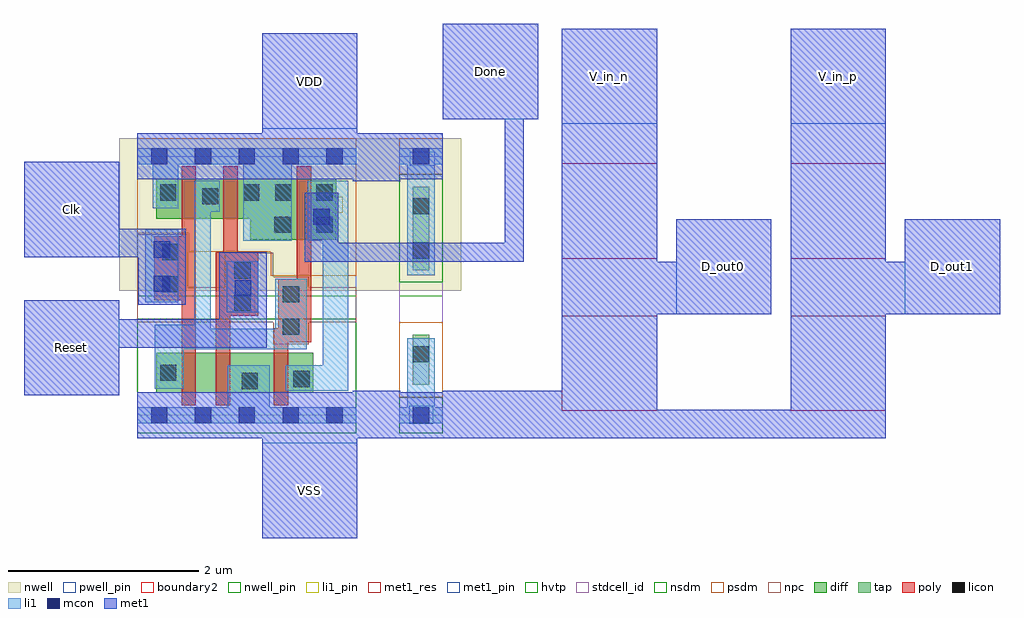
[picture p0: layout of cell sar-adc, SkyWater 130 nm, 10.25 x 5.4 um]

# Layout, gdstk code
import gdstk
lib = gdstk.Library(unit=1e-6, precision=1e-09)
def R(c, l, rs):  # rectangles x0, y0, x1, y1
    for r in rs: c.add(gdstk.rectangle(r[:2], r[2:], *l))
def A(c, l, x, y, w, h, nx, ny, dx, dy):  # array of equal rectangles
    R(c, l, [(x+i*dx, y+j*dy, x+i*dx+w, y+j*dy+h) for i in range(nx) for j in range(ny)])
def P(c, l, *ps):  # polygons
    for p in ps: c.add(gdstk.Polygon(p, *l))
nwell_pin = (64, 16)
nwell = (64, 20)
diff = (65, 20)
tap = (65, 44)
poly = (66, 20)
licon = (66, 44)
li1_pin = (67, 16)
li1 = (67, 20)
mcon = (67, 44)
met1_res = (68, 13)
met1_pin = (68, 16)
met1 = (68, 20)
hvtp = (78, 44)
stdcell_id = (81, 4)
nsdm = (93, 44)
psdm = (94, 20)
npc = (95, 20)
pwell_pin = (122, 16)
boundary2 = (236, 0)

sky130_fd_sc_hd__and2_0 = lib.new_cell('sky130_fd_sc_hd__and2_0')
R(sky130_fd_sc_hd__and2_0, nwell_pin, [(0.145,2.635,0.315,2.805)])
R(sky130_fd_sc_hd__and2_0, nwell, [(-0.19,1.305,2.49,2.91)])
R(sky130_fd_sc_hd__and2_0, diff, [(0.2,0.235,1.85,0.655)])
P(sky130_fd_sc_hd__and2_0, diff, [(2.09,2.485),(0.2,2.485),(0.2,2.065),(1.185,2.065),(1.185,1.845),(2.09,1.845)])
P(sky130_fd_sc_hd__and2_0, poly, [(0.615,2.615),(0.465,2.615),(0.465,1.88),(0.18,1.88),(0.18,1.21),(0.465,1.21),(0.465,0.105),(0.615,0.105)],
  [(1.27,1.71),(1.055,1.71),(1.055,2.615),(0.905,2.615),(0.905,1.71),(0.825,1.71),(0.825,0.105),(0.975,0.105),(0.975,1.045),(1.27,1.045)],
  [(1.825,2.615),(1.675,2.615),(1.675,1.435),(1.48,1.435),(1.48,0.915),(1.435,0.915),(1.435,0.105),(1.585,0.105),(1.585,0.765),(1.825,0.765)])
R(sky130_fd_sc_hd__and2_0, licon, [(1.095,0.275,1.265,0.445), (1.64,0.295,1.81,0.465), (0.24,0.36,0.41,0.53), (1.53,0.845,1.7,1.015), (1.02,1.095,1.19,1.265), (1.53,1.185,1.7,1.355), (0.26,1.29,0.43,1.46), (1.02,1.435,1.19,1.605), (0.26,1.63,0.43,1.8), (1.44,1.915,1.61,2.085), (1.88,1.915,2.05,2.085), (0.68,2.215,0.85,2.385), (0.24,2.255,0.41,2.425), (1.11,2.255,1.28,2.425), (1.45,2.255,1.62,2.425), (1.88,2.255,2.05,2.425)])
R(sky130_fd_sc_hd__and2_0, li1_pin, [(1.065,1.105,1.235,1.275), (1.065,1.445,1.235,1.615), (0.145,1.785,0.315,1.955), (1.985,2.125,2.155,2.295)])
R(sky130_fd_sc_hd__and2_0, li1, [(0.94,1.08,1.27,1.615), (0.085,1.185,0.43,1.955)])
P(sky130_fd_sc_hd__and2_0, li1, [(2.3,0.085),(1.39,0.085),(1.39,0.525),(0.95,0.525),(0.95,0.085),(0,0.085),(0,-0.085),(2.3,-0.085)],
  [(2.3,2.805),(0,2.805),(0,2.635),(0.16,2.635),(0.16,2.175),(0.43,2.175),(0.43,2.635),(1.11,2.635),(1.11,1.835),(1.62,1.835),(1.62,2.635),(2.3,2.635)],
  [(1.78,1.435),(1.45,1.435),(1.45,0.91),(0.77,0.91),(0.77,2.135),(0.865,2.135),(0.865,2.465),(0.6,2.465),(0.6,0.95),(0.185,0.95),(0.185,0.28),(0.49,0.28),(0.49,0.695),(1.78,0.695)],
  [(2.215,2.465),(1.79,2.465),(1.79,1.835),(1.95,1.835),(1.95,0.525),(1.56,0.525),(1.56,0.255),(2.215,0.255)])
A(sky130_fd_sc_hd__and2_0, mcon, 0.145, -0.085, 0.17, 0.17, 5, 2, 0.46, 2.72)
R(sky130_fd_sc_hd__and2_0, met1_pin, [(0.145,-0.085,0.315,0.085), (0.145,2.635,0.315,2.805)])
R(sky130_fd_sc_hd__and2_0, hvtp, [(0,1.25,2.3,2.72)])
R(sky130_fd_sc_hd__and2_0, stdcell_id, [(0,0,2.3,2.72)])
R(sky130_fd_sc_hd__and2_0, nsdm, [(0,-0.19,2.3,1.015)])
P(sky130_fd_sc_hd__and2_0, psdm, [(2.3,2.91),(0,2.91),(0,1.91),(0.54,1.91),(0.54,1.715),(1.4,1.715),(1.4,1.465),(2.3,1.465)])
P(sky130_fd_sc_hd__and2_0, npc, [(2.3,1.345),(1.8,1.345),(1.8,1.455),(1.43,1.455),(1.43,1.705),(0.92,1.705),(0.92,1.345),(0.53,1.345),(0.53,1.9),(0,1.9),(0,0.975),(1.43,0.975),(1.43,0.745),(1.8,0.745),(1.8,0.975),(2.3,0.975)])
R(sky130_fd_sc_hd__and2_0, pwell_pin, [(0.145,-0.085,0.315,0.085)])
R(sky130_fd_sc_hd__and2_0, boundary2, [(0,0,2.3,2.72)])
sky130_fd_sc_hd__and2_0.add(gdstk.FlexPath([(0,2.72),(2.3,2.72)], 0.48, ends="flush", simple_path=True, layer=68, datatype=20))  # met1
sky130_fd_sc_hd__and2_0.add(gdstk.FlexPath([(0,0),(2.3,0)], 0.48, ends="flush", simple_path=True, layer=68, datatype=20))  # met1
sky130_fd_sc_hd__and2_0.add(gdstk.Label('VNB', (0.23,0), layer=64, texttype=59))
sky130_fd_sc_hd__and2_0.add(gdstk.Label('VPB', (0.23,2.72), layer=64, texttype=5))
sky130_fd_sc_hd__and2_0.add(gdstk.Label('VPWR', (0.23,2.72), layer=68, texttype=5))
sky130_fd_sc_hd__and2_0.add(gdstk.Label('VGND', (0.23,0), layer=68, texttype=5))
sky130_fd_sc_hd__and2_0.add(gdstk.Label('X', (2.07,2.21), layer=67, texttype=5))
sky130_fd_sc_hd__and2_0.add(gdstk.Label('B', (1.15,1.53), layer=67, texttype=5))
sky130_fd_sc_hd__and2_0.add(gdstk.Label('A', (0.23,1.87), layer=67, texttype=5))
sky130_fd_sc_hd__and2_0.add(gdstk.Label('and2_0', (0,0), layer=83, texttype=44))

sky130_fd_sc_hd__tapvpwr = lib.new_cell('sky130_fd_sc_hd__tapvpwrvgnd_1')
R(sky130_fd_sc_hd__tapvpwr, nwell, [(-0.19,1.305,0.65,2.91)])
R(sky130_fd_sc_hd__tapvpwr, tap, [(0.145,0.32,0.315,0.845), (0.145,1.525,0.315,2.4)])
R(sky130_fd_sc_hd__tapvpwr, licon, [(0.145,0.555,0.315,0.725), (0.145,1.645,0.315,1.815), (0.145,2.11,0.315,2.28)])
R(sky130_fd_sc_hd__tapvpwr, li1, [(0,-0.085,0.46,0.085), (0.085,0,0.375,0.81), (0.085,1.47,0.375,2.72), (0,2.635,0.46,2.805)])
R(sky130_fd_sc_hd__tapvpwr, mcon, [(0.145,-0.085,0.315,0.085), (0.145,2.635,0.315,2.805)])
R(sky130_fd_sc_hd__tapvpwr, met1_pin, [(0.105,-0.09,0.36,0.1), (0.11,2.62,0.375,2.765)])
R(sky130_fd_sc_hd__tapvpwr, met1, [(0,-0.24,0.46,0.24), (0,2.48,0.46,2.96)])
R(sky130_fd_sc_hd__tapvpwr, hvtp, [(0,1.25,0.46,2.72)])
R(sky130_fd_sc_hd__tapvpwr, stdcell_id, [(0,0,0.46,2.72)])
R(sky130_fd_sc_hd__tapvpwr, nsdm, [(0,-0.19,0.46,0.19), (0,1.395,0.46,2.53)])
R(sky130_fd_sc_hd__tapvpwr, psdm, [(0,0.19,0.46,0.975), (0,2.53,0.46,2.91)])
sky130_fd_sc_hd__tapvpwr.add(gdstk.Label('VPWR', (0.23,2.72), layer=68, texttype=5))
sky130_fd_sc_hd__tapvpwr.add(gdstk.Label('VGND', (0.23,0), layer=68, texttype=5))
sky130_fd_sc_hd__tapvpwr.add(gdstk.Label('tapvpwrvgnd_1', (0,0), layer=83, texttype=44))

sky130_fd_pr__res_generi = lib.new_cell('sky130_fd_pr__res_generic_m1_MZR69S')
R(sky130_fd_pr__res_generi, met1_res, [(-0.5,-0.5,0.5,0.5)])
R(sky130_fd_pr__res_generi, met1, [(-0.5,-0.785,0.5,0.785)])

sar_adc = lib.new_cell('sar-adc')
R(sar_adc, nwell, [(0.5,4.345,0.6,5.95)])
R(sar_adc, li1, [(-1,4.15,-0.7,4.6), (-1.85,4.25,-1.55,4.95), (-0.15,4.95,0.1,5.3)])
R(sar_adc, mcon, [(-0.935,4.29,-0.765,4.46), (-1.785,4.335,-1.615,4.505), (-1.785,4.695,-1.615,4.865), (-0.11,5.04,0.06,5.21)])
R(sar_adc, met1_pin, [(-0.65,1.75,0.35,2.75), (-3.15,3.25,-2.15,4.25), (3.7,4.1,4.7,5.1), (6.1,4.1,7.1,5.1), (-3.15,4.7,-2.15,5.7), (-0.65,6.05,0.35,7.05), (2.5,6.1,3.5,7.1), (4.9,6.1,5.9,7.1), (1.25,6.15,2.25,7.15)])
R(sar_adc, met1, [(-0.65,1.75,0.35,2.8), (0.3,2.8,0.8,3.3), (1.25,2.8,2.5,3.3), (3.5,2.8,4.9,3.1), (-3.15,3.25,-2.15,3.75), (-3.15,3.75,-0.6,4.05), (-3.15,4.05,-2.15,4.25), (-1.1,4.05,-0.6,4.75), (3.5,4.1,4.7,4.35), (5.9,4.1,7.1,4.35), (-1.95,4.2,-1.45,4.7), (2.5,4.35,4.7,4.4), (4.9,4.35,7.1,4.4), (3.5,4.4,4.7,4.65), (5.9,4.4,7.1,4.65), (-0.2,4.65,2.1,4.85), (3.7,4.65,4.7,5.1), (6.1,4.65,7.1,5.1), (-3.15,4.7,-1.45,5), (-0.2,4.85,0.15,5.375), (1.9,4.85,2.1,6.15), (-3.15,5,-2.15,5.7), (0.3,5.5,0.8,6), (2.5,5.95,3.5,7.1), (4.9,5.95,5.9,7.1), (-0.65,6,0.35,7.05), (1.25,6.15,2.25,7.15)])
sar_adc.add(gdstk.Reference(sky130_fd_sc_hd__and2_0, (-1.96,3.04)))
sar_adc.add(gdstk.Reference(sky130_fd_sc_hd__tapvpwr, (0.79,3.04)))
sar_adc.add(gdstk.Reference(sky130_fd_pr__res_generi, (5.4,5.185)))
sar_adc.add(gdstk.Reference(sky130_fd_pr__res_generi, (5.4,3.585)))
sar_adc.add(gdstk.Reference(sky130_fd_pr__res_generi, (3,5.185)))
sar_adc.add(gdstk.Reference(sky130_fd_pr__res_generi, (3,3.585)))
sar_adc.add(gdstk.Label('VDD', (-0.15,6.55), layer=68, texttype=16))
sar_adc.add(gdstk.Label('V_in_p', (5.4,6.6), layer=68, texttype=16))
sar_adc.add(gdstk.Label('Done', (1.75,6.65), layer=68, texttype=16))
sar_adc.add(gdstk.Label('VSS', (-0.15,2.25), layer=68, texttype=16))
sar_adc.add(gdstk.Label('V_in_n', (3,6.6), layer=68, texttype=16))
sar_adc.add(gdstk.Label('Reset', (-2.65,3.75), layer=68, texttype=16))
sar_adc.add(gdstk.Label('D_out0', (4.2,4.6), layer=68, texttype=16))
sar_adc.add(gdstk.Label('D_out1', (6.6,4.6), layer=68, texttype=16))
sar_adc.add(gdstk.Label('Clk', (-2.65,5.2), layer=68, texttype=16))

lib.write_gds('sar-adc.gds')
